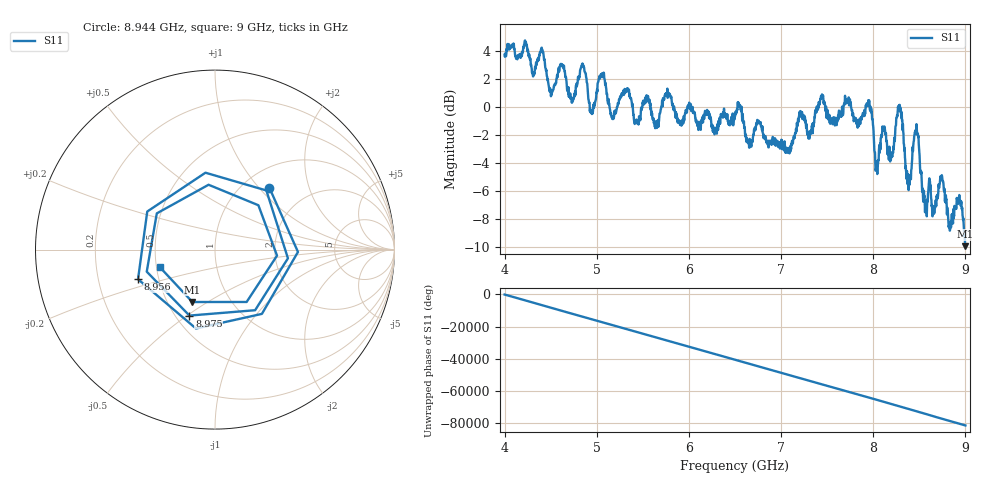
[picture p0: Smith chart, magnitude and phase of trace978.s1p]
! Created with skrf 1.8.0 (http://scikit-rf.org).
# Hz S RI R 50.0
!freq ReS11 ImS11
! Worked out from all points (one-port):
!   1601 points, 4 GHz to 9 GHz, reference 50 ohm
!   lowest |S11| = -10.0 dB at 8.997 GHz (marker M1), VSWR 1.93, Z = 33.2 - j21.6 ohm
!   |S11| at or under -10 dB: nowhere
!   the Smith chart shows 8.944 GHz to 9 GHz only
!   S11 on the Smith chart (normalised r, x): 8.944 GHz: 1.31, +1.14; 8.956 GHz: 0.38, -0.16; 8.975 GHz: 0.59, -0.51; 9 GHz: 0.52, -0.11
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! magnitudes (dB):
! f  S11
! 4 GHz  3.8
! 4.4 GHz  4.3
! 4.506 GHz  1.1
! 4.625 GHz  3.1
! 4.722 GHz  0.6
! 4.844 GHz  3.0
! 4.944 GHz  -0.4
! 5.053 GHz  2.3
! 5.162 GHz  -0.7
! 5.25 GHz  0.6
! 5.875 GHz  -0.8
! 6.5 GHz  -0.7
! 7.125 GHz  -2.5
! 7.434 GHz  0.8
! 7.75 GHz  0.3
! 7.959 GHz  0.4
! 8.038 GHz  -3.9
! 8.112 GHz  -1.7
! 8.203 GHz  -3.6
! 8.291 GHz  -0.1
! 8.375 GHz  -5.1
! 8.466 GHz  -1.6
! 8.566 GHz  -6.7
! 8.944 GHz  -6.8
! 8.956 GHz  -6.8
! 8.975 GHz  -8.1
! 8.997 GHz  -10.0
! 9 GHz  -9.8
